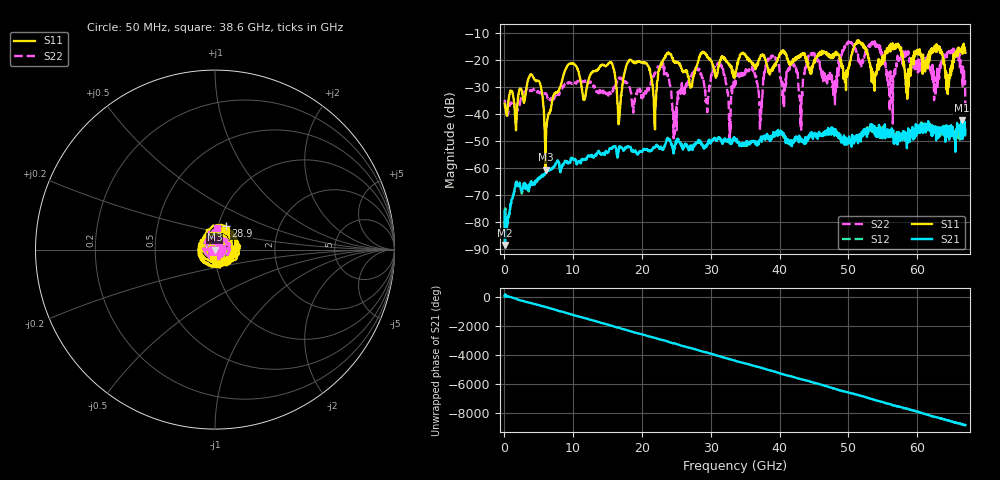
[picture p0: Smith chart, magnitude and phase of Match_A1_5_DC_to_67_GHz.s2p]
#  HZ  S  MA  R  50.00
! Rohde & Schwarz ZVA67 4Ports - Version 4.11 - 1305.7002k04 SN: 101051
! Date: 2023-05-31 11:13:19
! Measurements: S11 S21 S12 S22
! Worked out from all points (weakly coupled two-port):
!   1340 points, 50 MHz to 67 GHz, reference 50 ohm
!   highest |S21| = -42.21 dB at 66.45 GHz (marker M1); lowest = -88.5 dB at 100 MHz (marker M2)
!   lowest |S11| = -60.5 dB at 6 GHz (marker M3), VSWR 1.00, Z = 49.9 + j0.0188 ohm
!   |S11| at or under -10 dB: start of sweep to end of sweep
!   |S22| runs from -50.5 to -12.9 dB; largest |S21 - S12| = 0.0037
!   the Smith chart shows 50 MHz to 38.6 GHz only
!   S11 on the Smith chart (normalised r, x): 50 MHz: 0.97, +0.00; 28.9 GHz: 1.08, +0.29; 38.6 GHz: 0.97, -0.10
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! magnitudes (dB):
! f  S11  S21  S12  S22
! 50 MHz  -36.1  -75.7  -78.9  -34.6
! 100 MHz  -36.7  -88.5  -88.9  -35.5
! 4 GHz  -25.3  -65.6  -65.7  -31.3
! 6 GHz  -60.5  -61.5  -61.9  -32.4
! 9.3 GHz  -21.5  -58.2  -57.9  -28.1
! 11.25 GHz  -30.1  -56.7  -56.8  -27.5
! 16.7 GHz  -41.7  -52.0  -52.1  -26.3
! 18.8 GHz  -20.5  -53.9  -54.0  -36.5
! 22.4 GHz  -24.0  -52.1  -52.0  -22.4
! 24.75 GHz  -20.7  -52.6  -52.8  -47.4
! 28.9 GHz  -16.8  -51.7  -51.5  -27.5
! 33.55 GHz  -26.0  -49.0  -49.2  -27.5
! 37.25 GHz  -18.1  -49.8  -48.9  -42.2
! 38.6 GHz  -25.2  -50.0  -49.0  -18.5
! 43.05 GHz  -17.7  -49.4  -49.7  -44.8
! 44.7 GHz  -23.8  -46.8  -47.2  -17.4
! 47.95 GHz  -17.8  -47.9  -46.1  -31.1
! 53.65 GHz  -28.2  -44.4  -46.5  -13.7
! 55.85 GHz  -16.5  -45.9  -46.4  -28.2
! 64.45 GHz  -32.4  -47.9  -46.7  -17.2
! 66.45 GHz  -16.1  -42.2  -45.5  -22.2
! 67 GHz  -17.2  -46.0  -45.0  -37.6
